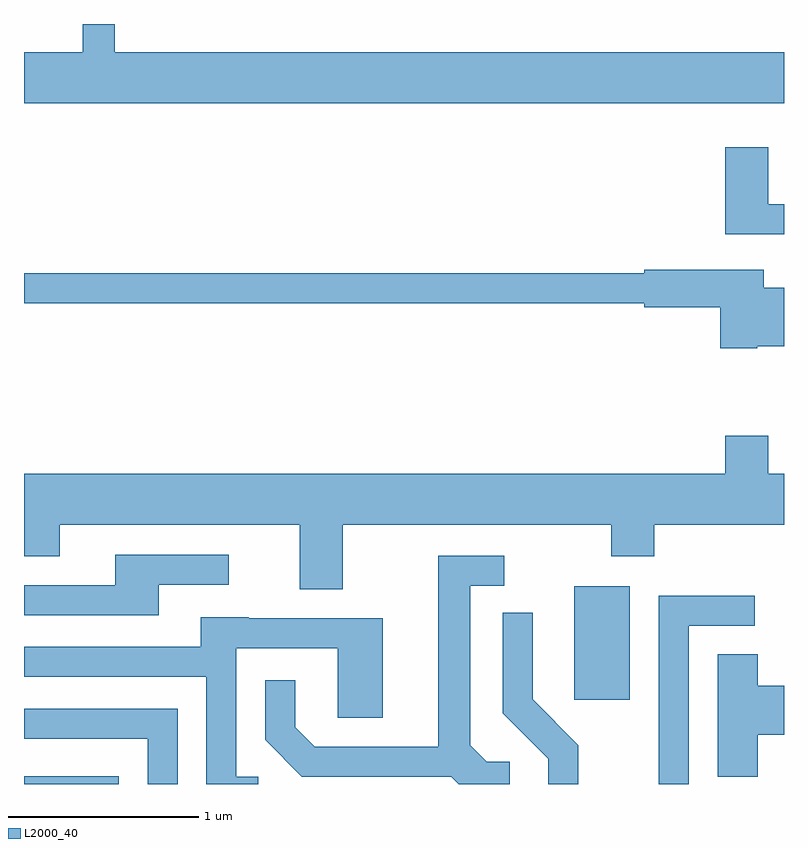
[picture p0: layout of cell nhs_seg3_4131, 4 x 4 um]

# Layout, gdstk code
import gdstk
lib = gdstk.Library(unit=1e-6, precision=1e-09)
def R(c, l, rs):  # rectangles x0, y0, x1, y1
    for r in rs: c.add(gdstk.rectangle(r[:2], r[2:], *l))
def P(c, l, *ps):  # polygons
    for p in ps: c.add(gdstk.Polygon(p, *l))
L2000_40 = (2000, 40)

nhs_seg3_4131 = lib.new_cell('nhs_seg3_4131')
R(nhs_seg3_4131, L2000_40, [(305.611,1217.892,306.109,1217.934), (308.506,1218.336,308.799,1218.934)])
P(nhs_seg3_4131, L2000_40, [(309.611,1221.744),(306.089,1221.744),(306.089,1221.892),(305.921,1221.892),(305.921,1221.744),(305.611,1221.744),(305.611,1221.476),(309.611,1221.476)],
  [(309.611,1220.944),(309.529,1220.944),(309.529,1221.244),(309.301,1221.244),(309.301,1220.786),(309.611,1220.786)],
  [(309.47,1220.196),(309.611,1220.196),(309.611,1220.504),(309.504,1220.504),(309.504,1220.599),(308.876,1220.599),(308.876,1220.579),(305.611,1220.579),(305.611,1220.421),(308.876,1220.421),(308.876,1220.401),(309.276,1220.401),(309.276,1220.186),(309.47,1220.186)],
  [(307.289,1219.256),(308.701,1219.256),(308.701,1219.091),(308.929,1219.091),(308.929,1219.256),(309.611,1219.256),(309.611,1219.524),(309.529,1219.524),(309.529,1219.724),(309.301,1219.724),(309.301,1219.524),(305.611,1219.524),(305.611,1219.091),(305.799,1219.091),(305.799,1219.256),(307.061,1219.256),(307.061,1218.916),(307.289,1218.916)],
  [(306.319,1218.941),(306.688,1218.941),(306.688,1219.099),(306.091,1219.099),(306.091,1218.939),(305.611,1218.939),(305.611,1218.781),(306.319,1218.781)],
  [(308.168,1218.009),(308.047,1218.009),(307.959,1218.097),(307.959,1218.936),(308.138,1218.936),(308.138,1219.094),(307.791,1219.094),(307.791,1218.089),(307.142,1218.089),(307.039,1218.192),(307.039,1218.438),(306.881,1218.438),(306.881,1218.124),(307.074,1217.931),(307.859,1217.931),(307.898,1217.892),(308.168,1217.892)],
  [(309.109,1218.726),(309.458,1218.726),(309.458,1218.884),(308.951,1218.884),(308.951,1217.892),(309.109,1217.892)],
  [(308.529,1218.097),(308.289,1218.337),(308.289,1218.793),(308.131,1218.793),(308.131,1218.264),(308.371,1218.024),(308.371,1217.892),(308.529,1217.892)],
  [(306.843,1217.929),(306.729,1217.929),(306.729,1218.606),(307.261,1218.606),(307.261,1218.241),(307.499,1218.241),(307.499,1218.764),(306.795,1218.764),(306.795,1218.769),(306.541,1218.769),(306.541,1218.614),(305.611,1218.614),(305.611,1218.456),(306.571,1218.456),(306.571,1217.892),(306.843,1217.892)],
  [(309.474,1218.151),(309.611,1218.151),(309.611,1218.409),(309.474,1218.409),(309.474,1218.574),(309.261,1218.574),(309.261,1217.931),(309.474,1217.931)],
  [(306.419,1218.289),(305.611,1218.289),(305.611,1218.131),(306.261,1218.131),(306.261,1217.892),(306.419,1217.892)])

lib.write_gds('nhs_seg3_4131.gds')
